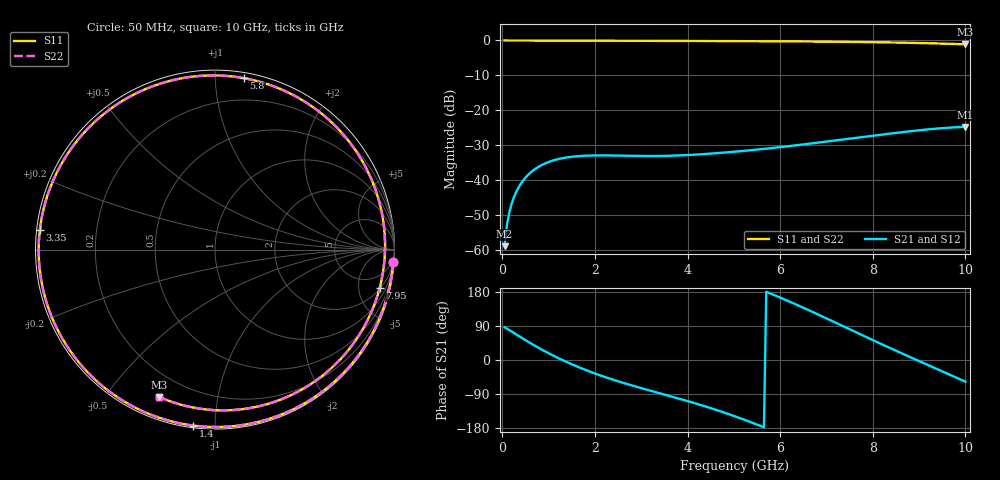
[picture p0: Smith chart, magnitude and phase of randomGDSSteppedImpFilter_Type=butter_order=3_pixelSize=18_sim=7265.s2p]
! freq	dB(S11)	phase(S11)	dB(S12)	phase(S12)
!  dB(S21)	phase(S21)	dB(S22)	phase(S22)
!S-par simulation data
#  GHz  S  DB  R 50
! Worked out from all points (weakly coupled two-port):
!   200 points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, 50 MHz to 10 GHz, reference 50 ohm
!   highest |S21| = -24.76 dB at 10 GHz (marker M1); lowest = -58.9 dB at 50 MHz (marker M2)
!   lowest |S11| = -1.1 dB at 10 GHz (marker M3), VSWR 15.38, Z = 4.79 - j34.3 ohm
!   |S11| at or under -10 dB: nowhere
!   |S22| runs from -1.1 to 0.0 dB; largest |S21 - S12| = 0
!   S11 on the Smith chart (normalised r, x): 50 MHz: 2, -29; 1.4 GHz: 0.01, -0.88; 3.35 GHz: 0.01, +0.05; 5.8 GHz: 0.04, +1.18; 7.95 GHz: 2.13, -8.12; 10 GHz: 0.10, -0.69
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0.05  -0.04 -4.0  -58.87 86.5  -58.87 86.5  -0.04 -3.9
0.1  -0.05 -7.7  -52.84 82.9  -52.84 82.9  -0.05 -7.7
0.15  -0.05 -11.6  -49.31 79.1  -49.31 79.1  -0.05 -11.6
0.25  -0.05 -19.2  -44.91 71.4  -44.91 71.4  -0.05 -19.2
0.4  -0.05 -30.5  -41.01 59.9  -41.01 59.9  -0.05 -30.5
0.9  -0.08 -66.0  -35.35 24.3  -35.35 24.3  -0.08 -66.0
1.4  -0.10 -97.2  -33.48 -5.8  -33.48 -5.8  -0.10 -97.1
1.75  -0.12 -116.4  -33.02 -24.0  -33.02 -24.0  -0.12 -116.3
2.5  -0.14 -151.9  -32.98 -56.2  -32.98 -56.2  -0.14 -151.8
3.35  -0.16 173.7  -33.08 -86.0  -33.08 -86.0  -0.16 173.8
3.4  -0.16 171.8  -33.07 -87.7  -33.07 -87.7  -0.16 171.9
4.2  -0.19 141.8  -32.66 -115.5  -32.66 -115.5  -0.19 141.9
5.05  -0.23 109.8  -31.81 -149.7  -31.81 -149.7  -0.23 110.1
5.8  -0.28 80.4  -30.84 175.0  -30.84 175.0  -0.28 80.6
6.25  -0.31 61.9  -30.18 151.6  -30.18 151.6  -0.31 62.2
6.7  -0.35 42.7  -29.46 126.8  -29.46 126.8  -0.35 43.0
7.35  -0.42 14.1  -28.37 89.7  -28.37 89.7  -0.42 14.4
7.95  -0.52 -13.2  -27.37 55.3  -27.37 55.3  -0.52 -12.9
8.35  -0.60 -31.6  -26.72 32.8  -26.72 32.8  -0.60 -31.4
9.2  -0.83 -71.5  -25.46 -13.7  -25.46 -13.7  -0.83 -71.3
9.6  -0.97 -90.8  -25.02 -35.4  -25.02 -35.4  -0.97 -90.7
10  -1.13 -110.7  -24.76 -57.2  -24.76 -57.2  -1.13 -110.7
